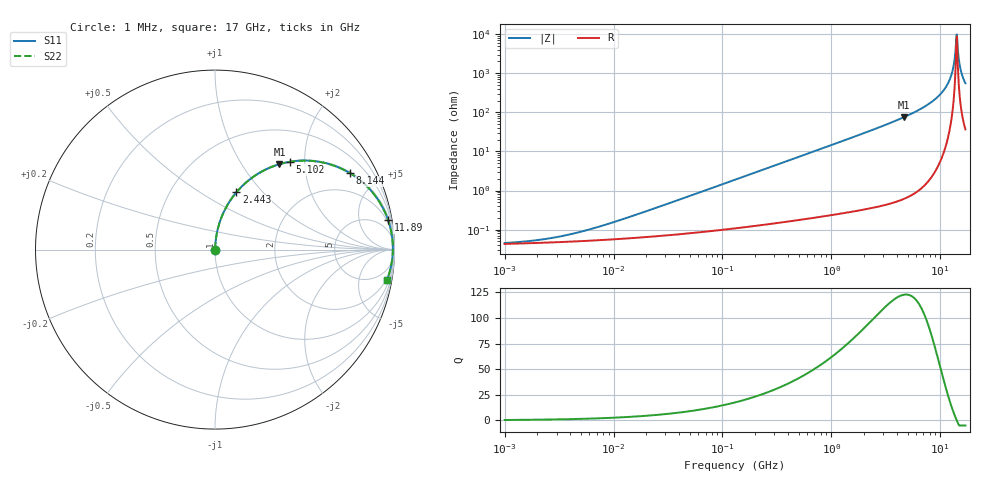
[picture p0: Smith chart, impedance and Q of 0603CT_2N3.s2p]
# MHz  S  MA  R  50
!Freq  MagS11  AngS11  MagS21  AngS21  MagS12  AngS12  MagS22  AngS22
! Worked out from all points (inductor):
!   980 points, 1 MHz to 17 GHz, reference 50 ohm
!   read as one part in series: L = 2.3 nH near 12.27 MHz
!   highest Q = 123 at 4.619 GHz (marker M1), where L = 2.57 nH
!   self-resonance near 14.08 GHz
!   S11 on the Smith chart (normalised r, x): 1 MHz: 1.00, +0.00; 2.443 GHz: 1.01, +0.73; 5.102 GHz: 1.01, +1.69; 8.144 GHz: 1.04, +3.52; 11.89 GHz: 2, +12; 17 GHz: 2, -11
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1  0.0004553 18.5  0.9996 -0.0  0.9996 -0.0  0.0004553 18.5
2.353088  0.0005759 36.2  0.9995 -0.0  0.9995 -0.0  0.0005759 36.2
5.113347  0.0008975 55.3  0.9995 -0.0  0.9995 -0.0  0.0008975 55.3
25.88745  0.003801 79.4  0.9993 -0.2  0.9993 -0.2  0.003801 79.4
131.0609  0.01895 85.7  0.9987 -1.1  0.9987 -1.1  0.01895 85.7
663.5247  0.09549 83.3  0.9935 -5.5  0.9935 -5.5  0.09549 83.3
2443.189  0.3409 69.5  0.9367 -19.9  0.9367 -19.9  0.3409 69.5
3359.24  0.4558 62.4  0.8861 -27.1  0.8861 -27.1  0.4558 62.4
4618.755  0.5962 52.9  0.798 -36.6  0.798 -36.6  0.5962 52.9
5101.979  0.6439 49.4  0.7598 -40.1  0.7598 -40.1  0.6439 49.4
8144.103  0.8651 29.4  0.4916 -59.9  0.4916 -59.9  0.8651 29.4
10137.09  0.9432 18.3  0.3135 -70.6  0.3135 -70.6  0.9432 18.3
11886.54  0.9785 9.7  0.1679 -77.8  0.1679 -77.8  0.9785 9.7
12871.42  0.9878 5.3  0.09209 -79.7  0.09209 -79.7  0.9878 5.3
13261.44  0.9897 3.6  0.06349 -78.9  0.06349 -78.9  0.9897 3.6
13799.9  0.9909 1.4  0.02594 -68.9  0.02594 -68.9  0.9909 1.4
14218.06  0.9909 -0.3  0.01015 26.1  0.01015 26.1  0.9909 -0.3
14503.84  0.9904 -1.4  0.02554 67.2  0.02554 67.2  0.9904 -1.4
15092.75  0.9882 -3.6  0.06299 77.4  0.06299 77.4  0.9882 -3.6
15550.08  0.9856 -5.2  0.09148 78.3  0.09148 78.3  0.9856 -5.2
16343.29  0.9794 -7.9  0.1387 77.5  0.1387 77.5  0.9794 -7.9
17000  0.9729 -10.1  0.1757 76.1  0.1757 76.1  0.9729 -10.1
